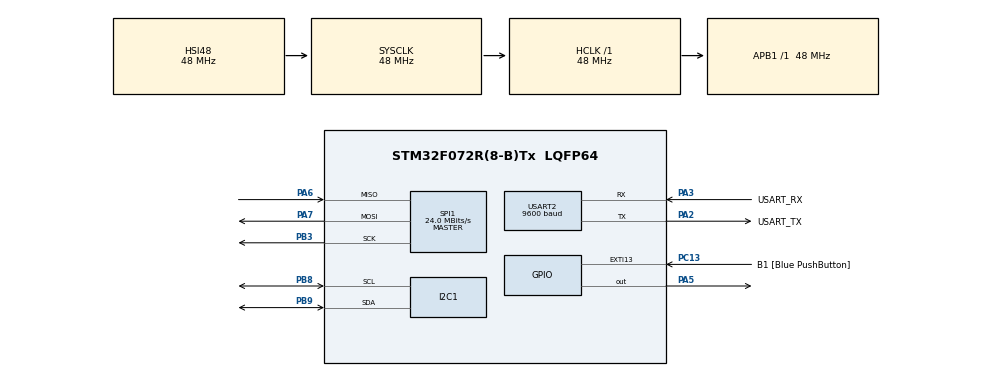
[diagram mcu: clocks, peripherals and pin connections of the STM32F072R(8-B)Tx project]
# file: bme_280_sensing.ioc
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I2C1.I2C_Fall_Time=0
I2C1.I2C_Rise_Time=0
Mcu.Family=STM32F0
Mcu.Name=STM32F072R(8-B)Tx
Mcu.Package=LQFP64
PA13.GPIO_Label=TMS
PA13.Mode=Serial_Wire
PA13.Signal=SYS_SWDIO
PA14.GPIO_Label=TCK
PA14.Mode=Serial_Wire
PA14.Signal=SYS_SWCLK
PA2.GPIO_Label=USART_TX
PA2.GPIO_Mode=GPIO_MODE_AF_PP
PA2.GPIO_PuPd=GPIO_NOPULL
PA2.GPIO_Speed=GPIO_SPEED_FREQ_LOW
PA2.Mode=Asynchronous
PA2.Signal=USART2_TX
PA3.GPIO_Label=USART_RX
PA3.GPIO_Mode=GPIO_MODE_AF_PP
PA3.GPIO_PuPd=GPIO_NOPULL
PA3.GPIO_Speed=GPIO_SPEED_FREQ_LOW
PA3.Mode=Asynchronous
PA3.Signal=USART2_RX
PA5.Signal=GPIO_Output
PA6.Mode=Full_Duplex_Master
PA6.Signal=SPI1_MISO
PA7.Mode=Full_Duplex_Master
PA7.Signal=SPI1_MOSI
PB3.Mode=Full_Duplex_Master
PB3.Signal=SPI1_SCK
PB8.Mode=I2C
PB8.Signal=I2C1_SCL
PB9.Mode=I2C
PB9.Signal=I2C1_SDA
PC13.GPIO_Label=B1 [Blue PushButton]
PC13.GPIO_ModeDefaultEXTI=GPIO_MODE_IT_FALLING
PC13.GPIO_PuPd=GPIO_NOPULL
PC13.Signal=GPXTI13
PC14-OSC32_IN.Mode=LSE-External-Oscillator
PC14-OSC32_IN.Signal=RCC_OSC32_IN
PC15-OSC32_OUT.Mode=LSE-External-Oscillator
PC15-OSC32_OUT.Signal=RCC_OSC32_OUT
PF0-OSC_IN.Mode=HSE-External-Clock-Source
PF0-OSC_IN.Signal=RCC_OSC_IN
PF1-OSC_OUT.Signal=RCC_OSC_OUT
ProjectManager.HeapSize=0x200
ProjectManager.StackSize=0x400
ProjectManager.TargetToolchain=STM32CubeIDE
RCC.AHBFreq_Value=48000000
RCC.APB1Freq_Value=48000000
RCC.APB1TimFreq_Value=48000000
RCC.FLatency-AdvancedSettings=FLASH_LATENCY_1
RCC.HCLKFreq_Value=48000000
RCC.PLLDivider=RCC_PREDIV_DIV2
RCC.PLLMUL=RCC_PLL_MUL12
RCC.PREFETCH_ENABLE-AdvancedSettings=1
RCC.SYSCLKFreq_VALUE=48000000
RCC.SYSCLKSource=RCC_SYSCLKSOURCE_HSI48
SPI1.BaudRatePrescaler=SPI_BAUDRATEPRESCALER_2
SPI1.CalculateBaudRate=24.0 MBits/s
SPI1.DataSize=SPI_DATASIZE_8BIT
SPI1.Direction=SPI_DIRECTION_2LINES
SPI1.Mode=SPI_MODE_MASTER
SPI1.VirtualType=VM_MASTER
USART2.BaudRate=9600
USART2.VirtualMode=VM_ASYNC
USART2.VirtualMode-Asynchronous=VM_ASYNC
board=NUCLEO-F072RB

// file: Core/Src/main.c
/* USER CODE BEGIN Header */
/**
  ******************************************************************************
  * @file           : main.c
  * @brief          : Main program body
  ******************************************************************************
  * @attention
  *
  * <h2><center>&copy; Copyright (c) 2020 STMicroelectronics.
  * All rights reserved.</center></h2>
  *
  * This software component is licensed by ST under BSD 3-Clause license,
  * the "License"; You may not use this file except in compliance with the
  * License. You may obtain a copy of the License at:
  *                        opensource.org/licenses/BSD-3-Clause
  *
  ******************************************************************************
  */
/* USER CODE END Header */
#include "main.h"

/* USER CODE BEGIN Includes */
#include "string.h"
#include "stdio.h"
//#include "veml6075.h"
#include "sensors.h"
#include "bme280_2.h"
#include "veml6075_2.h"
/* USER CODE END Includes */

I2C_HandleTypeDef hi2c1;

SPI_HandleTypeDef hspi1;

UART_HandleTypeDef huart2;

void SystemClock_Config(void);
static void MX_GPIO_Init(void);
static void MX_USART2_UART_Init(void);
static void MX_I2C1_Init(void);
static void MX_SPI1_Init(void);
/* USER CODE BEGIN PFP */
void lora_transmit_data(char* print_buf);
void user_delay_us(uint32_t period, void *intf_ptr);
int8_t user_i2c_read(uint8_t reg_addr, uint8_t *reg_data, uint32_t len, void *intf_ptr);
int8_t user_i2c_write(uint8_t reg_addr, uint8_t *reg_data, uint32_t len, void *intf_ptr);
/* USER CODE END PFP */

int main(void)
{
  /* USER CODE BEGIN 1 */
  char to_print_buf[100] = {0};
  /* USER CODE END 1 */

  /* MCU Configuration--------------------------------------------------------*/

  /* Reset of all peripherals, Initializes the Flash interface and the Systick. */
  HAL_Init();

  /* Configure the system clock */
  SystemClock_Config();

  /* Initialize all configured peripherals */
  MX_GPIO_Init();
  MX_USART2_UART_Init();
  MX_I2C1_Init();
  MX_SPI1_Init();
  /* USER CODE BEGIN 2 */
  bme280_init(&hi2c1);
  veml6075_init(&hi2c1);

  /* USER CODE END 2 */

  /* Infinite loop */
  while (1)
  {

    /* USER CODE BEGIN 3 */
	  bme280_read(&hi2c1);
	  veml6075_read(&hi2c1);
	  lora_transmit_data(to_print_buf);
	  HAL_Delay(500);
  }
  /* USER CODE END 3 */
}

void SystemClock_Config(void)
{
  RCC_OscInitTypeDef RCC_OscInitStruct = {0};
  RCC_ClkInitTypeDef RCC_ClkInitStruct = {0};
  RCC_PeriphCLKInitTypeDef PeriphClkInit = {0};

  /** Initializes the RCC Oscillators according to the specified parameters
  * in the RCC_OscInitTypeDef structure.
  */
  RCC_OscInitStruct.OscillatorType = RCC_OSCILLATORTYPE_HSI|RCC_OSCILLATORTYPE_HSI48;
  RCC_OscInitStruct.HSIState = RCC_HSI_ON;
  RCC_OscInitStruct.HSI48State = RCC_HSI48_ON;
  RCC_OscInitStruct.HSICalibrationValue = RCC_HSICALIBRATION_DEFAULT;
  RCC_OscInitStruct.PLL.PLLState = RCC_PLL_NONE;
  if (HAL_RCC_OscConfig(&RCC_OscInitStruct) != HAL_OK)
  {
    Error_Handler();
  }
  /** Initializes the CPU, AHB and APB buses clocks
  */
  RCC_ClkInitStruct.ClockType = RCC_CLOCKTYPE_HCLK|RCC_CLOCKTYPE_SYSCLK
                              |RCC_CLOCKTYPE_PCLK1;
  RCC_ClkInitStruct.SYSCLKSource = RCC_SYSCLKSOURCE_HSI48;
  RCC_ClkInitStruct.AHBCLKDivider = RCC_SYSCLK_DIV1;
  RCC_ClkInitStruct.APB1CLKDivider = RCC_HCLK_DIV1;

  if (HAL_RCC_ClockConfig(&RCC_ClkInitStruct, FLASH_LATENCY_1) != HAL_OK)
  {
    Error_Handler();
  }
  PeriphClkInit.PeriphClockSelection = RCC_PERIPHCLK_USART2|RCC_PERIPHCLK_I2C1;
  PeriphClkInit.Usart2ClockSelection = RCC_USART2CLKSOURCE_PCLK1;
  PeriphClkInit.I2c1ClockSelection = RCC_I2C1CLKSOURCE_HSI;
  if (HAL_RCCEx_PeriphCLKConfig(&PeriphClkInit) != HAL_OK)
  {
    Error_Handler();
  }
}

static void MX_I2C1_Init(void)
{

  hi2c1.Instance = I2C1;
  hi2c1.Init.Timing = 0x2000090E;
  hi2c1.Init.OwnAddress1 = 0;
  hi2c1.Init.AddressingMode = I2C_ADDRESSINGMODE_7BIT;
  hi2c1.Init.DualAddressMode = I2C_DUALADDRESS_DISABLE;
  hi2c1.Init.OwnAddress2 = 0;
  hi2c1.Init.OwnAddress2Masks = I2C_OA2_NOMASK;
  hi2c1.Init.GeneralCallMode = I2C_GENERALCALL_DISABLE;
  hi2c1.Init.NoStretchMode = I2C_NOSTRETCH_DISABLE;
  if (HAL_I2C_Init(&hi2c1) != HAL_OK)
  {
    Error_Handler();
  }
  /** Configure Analogue filter
  */
  if (HAL_I2CEx_ConfigAnalogFilter(&hi2c1, I2C_ANALOGFILTER_ENABLE) != HAL_OK)
  {
    Error_Handler();
  }
  /** Configure Digital filter
  */
  if (HAL_I2CEx_ConfigDigitalFilter(&hi2c1, 0) != HAL_OK)
  {
    Error_Handler();
  }

}

static void MX_SPI1_Init(void)
{

  /* SPI1 parameter configuration*/
  hspi1.Instance = SPI1;
  hspi1.Init.Mode = SPI_MODE_MASTER;
  hspi1.Init.Direction = SPI_DIRECTION_2LINES;
  hspi1.Init.DataSize = SPI_DATASIZE_8BIT;
  hspi1.Init.CLKPolarity = SPI_POLARITY_LOW;
  hspi1.Init.CLKPhase = SPI_PHASE_1EDGE;
  hspi1.Init.NSS = SPI_NSS_SOFT;
  hspi1.Init.BaudRatePrescaler = SPI_BAUDRATEPRESCALER_2;
  hspi1.Init.FirstBit = SPI_FIRSTBIT_MSB;
  hspi1.Init.TIMode = SPI_TIMODE_DISABLE;
  hspi1.Init.CRCCalculation = SPI_CRCCALCULATION_DISABLE;
  hspi1.Init.CRCPolynomial = 7;
  hspi1.Init.CRCLength = SPI_CRC_LENGTH_DATASIZE;
  hspi1.Init.NSSPMode = SPI_NSS_PULSE_ENABLE;
  if (HAL_SPI_Init(&hspi1) != HAL_OK)
  {
    Error_Handler();
  }

}

static void MX_USART2_UART_Init(void)
{

  huart2.Instance = USART2;
  huart2.Init.BaudRate = 9600;
  huart2.Init.WordLength = UART_WORDLENGTH_8B;
  huart2.Init.StopBits = UART_STOPBITS_1;
  huart2.Init.Parity = UART_PARITY_NONE;
  huart2.Init.Mode = UART_MODE_TX_RX;
  huart2.Init.HwFlowCtl = UART_HWCONTROL_NONE;
  huart2.Init.OverSampling = UART_OVERSAMPLING_16;
  huart2.Init.OneBitSampling = UART_ONE_BIT_SAMPLE_DISABLE;
  huart2.AdvancedInit.AdvFeatureInit = UART_ADVFEATURE_NO_INIT;
  if (HAL_UART_Init(&huart2) != HAL_OK)
  {
    Error_Handler();
  }

}

static void MX_GPIO_Init(void)
{
  GPIO_InitTypeDef GPIO_InitStruct = {0};

  /* GPIO Ports Clock Enable */
  __HAL_RCC_GPIOC_CLK_ENABLE();
  __HAL_RCC_GPIOF_CLK_ENABLE();
  __HAL_RCC_GPIOA_CLK_ENABLE();
  __HAL_RCC_GPIOB_CLK_ENABLE();

  /*Configure GPIO pin Output Level */
  HAL_GPIO_WritePin(GPIOA, GPIO_PIN_5, GPIO_PIN_RESET);

  /*Configure GPIO pin : B1_Pin */
  GPIO_InitStruct.Pin = B1_Pin;
  GPIO_InitStruct.Mode = GPIO_MODE_IT_FALLING;
  GPIO_InitStruct.Pull = GPIO_NOPULL;
  HAL_GPIO_Init(B1_GPIO_Port, &GPIO_InitStruct);

  /*Configure GPIO pin : PA5 */
  GPIO_InitStruct.Pin = GPIO_PIN_5;
  GPIO_InitStruct.Mode = GPIO_MODE_OUTPUT_PP;
  GPIO_InitStruct.Pull = GPIO_NOPULL;
  GPIO_InitStruct.Speed = GPIO_SPEED_FREQ_LOW;
  HAL_GPIO_Init(GPIOA, &GPIO_InitStruct);

}

/* USER CODE BEGIN 4 */

void lora_transmit_data(char* print_buf)
{
	sprintf(print_buf, "G%.2fT%.2fH%.2fA%.2fB%.2f\n\r", sensor_data.air_pressure, sensor_data.air_temperature, sensor_data.air_humidity, sensor_data.uva, sensor_data.uvb);
	HAL_UART_Transmit(&huart2, (uint8_t*)print_buf, strlen(print_buf), HAL_MAX_DELAY);
	HAL_SPI_Transmit(&hspi1, (uint8_t*)print_buf, strlen(print_buf), HAL_MAX_DELAY);
}
/* USER CODE END 4 */

void Error_Handler(void)
{
  __disable_irq();
  while (1)
  {
  }
}

/************************ (C) COPYRIGHT STMicroelectronics *****END OF FILE****/
